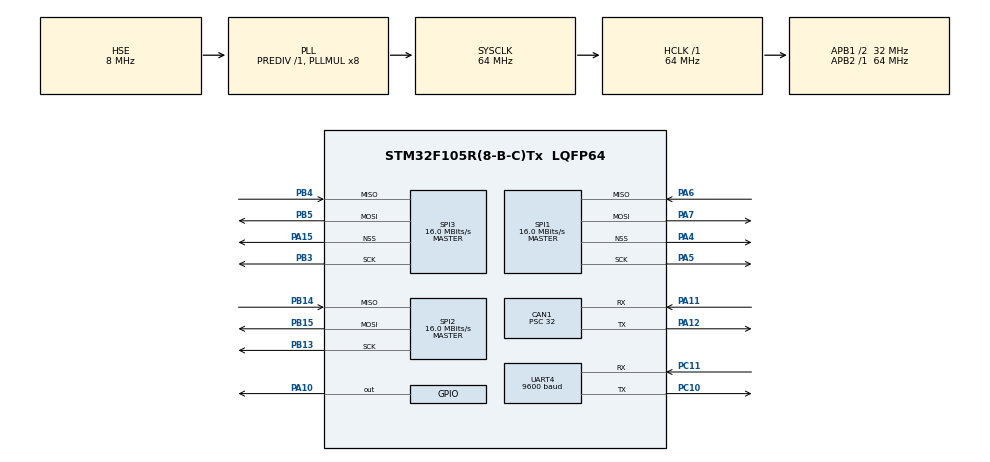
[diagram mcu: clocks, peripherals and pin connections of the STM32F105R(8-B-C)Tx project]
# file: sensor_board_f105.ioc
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CAN1.CalculateBaudRate=333333
CAN1.CalculateTimeBit=3000
CAN1.CalculateTimeQuantum=1000.0
CAN1.Prescaler=32
Mcu.Family=STM32F1
Mcu.Name=STM32F105R(8-B-C)Tx
Mcu.Package=LQFP64
NVIC.PriorityGroup=NVIC_PRIORITYGROUP_4
NVIC.TIM2_IRQn=true\:15\:0\:false\:false\:true\:false\:true\:true
NVIC.TimeBase=TIM2_IRQn
NVIC.TimeBaseIP=TIM2
PA10.Signal=GPIO_Output
PA11.Mode=CAN_Activate
PA11.Signal=CAN1_RX
PA12.Mode=CAN_Activate
PA12.Signal=CAN1_TX
PA13.Mode=Serial_Wire
PA13.Signal=SYS_JTMS-SWDIO
PA14.Mode=Serial_Wire
PA14.Signal=SYS_JTCK-SWCLK
PA15.Mode=NSS_Signal_Hard_Output
PA15.Signal=SPI3_NSS
PA4.Mode=NSS_Signal_Hard_Output
PA4.Signal=SPI1_NSS
PA5.Mode=Full_Duplex_Master
PA5.Signal=SPI1_SCK
PA6.Mode=Full_Duplex_Master
PA6.Signal=SPI1_MISO
PA7.Mode=Full_Duplex_Master
PA7.Signal=SPI1_MOSI
PB12.Signal=SPI2_NSS
PB13.Mode=Full_Duplex_Master
PB13.Signal=SPI2_SCK
PB14.Mode=Full_Duplex_Master
PB14.Signal=SPI2_MISO
PB15.Mode=Full_Duplex_Master
PB15.Signal=SPI2_MOSI
PB3.Mode=Full_Duplex_Master
PB3.Signal=SPI3_SCK
PB4.Mode=Full_Duplex_Master
PB4.Signal=SPI3_MISO
PB5.Mode=Full_Duplex_Master
PB5.Signal=SPI3_MOSI
PC10.Mode=Asynchronous
PC10.Signal=UART4_TX
PC11.Mode=Asynchronous
PC11.Signal=UART4_RX
PD0-OSC_IN.Mode=HSE-External-Oscillator
PD0-OSC_IN.Signal=RCC_OSC_IN
PD1-OSC_OUT.Mode=HSE-External-Oscillator
PD1-OSC_OUT.Signal=RCC_OSC_OUT
ProjectManager.HeapSize=0x200
ProjectManager.StackSize=0x400
ProjectManager.TargetToolchain=STM32CubeIDE
RCC.AHBFreq_Value=64000000
RCC.APB1CLKDivider=RCC_HCLK_DIV2
RCC.APB1Freq_Value=32000000
RCC.APB1TimFreq_Value=64000000
RCC.APB2Freq_Value=64000000
RCC.APB2TimFreq_Value=64000000
RCC.HCLKFreq_Value=64000000
RCC.PLLMUL=RCC_PLL_MUL8
RCC.PLLSourceVirtual=RCC_PLLSOURCE_HSE
RCC.SYSCLKFreq_VALUE=64000000
RCC.SYSCLKSource=RCC_SYSCLKSOURCE_PLLCLK
RCC.USBFreq_Value=42666666.666666664
SPI1.BaudRatePrescaler=SPI_BAUDRATEPRESCALER_4
SPI1.CalculateBaudRate=16.0 MBits/s
SPI1.Direction=SPI_DIRECTION_2LINES
SPI1.Mode=SPI_MODE_MASTER
SPI1.VirtualNSS=VM_NSSHARD
SPI1.VirtualType=VM_MASTER
SPI2.CalculateBaudRate=16.0 MBits/s
SPI2.Direction=SPI_DIRECTION_2LINES
SPI2.Mode=SPI_MODE_MASTER
SPI2.VirtualType=VM_MASTER
SPI3.CalculateBaudRate=16.0 MBits/s
SPI3.Direction=SPI_DIRECTION_2LINES
SPI3.Mode=SPI_MODE_MASTER
SPI3.VirtualNSS=VM_NSSHARD
SPI3.VirtualType=VM_MASTER
UART4.BaudRate=9600
UART4.Mode=MODE_TX
UART4.VirtualMode=Asynchronous
VP_SYS_VS_tim2.Mode=TIM2
board=custom

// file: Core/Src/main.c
/* USER CODE BEGIN Header */
/**
  ******************************************************************************
  * @file           : main.c
  * @brief          : Main program body
  ******************************************************************************
  * @attention
  *
  * Copyright (c) 2024 STMicroelectronics.
  * All rights reserved.
  *
  * This software is licensed under terms that can be found in the LICENSE file
  * in the root directory of this software component.
  * If no LICENSE file comes with this software, it is provided AS-IS.
  *
  ******************************************************************************
  */
/* USER CODE END Header */
#include "main.h"

/* USER CODE BEGIN Includes */
#include "max31855.h"
//#include <stdio.h>
#include <math.h>

/* USER CODE END Includes */

CAN_HandleTypeDef hcan1;

SPI_HandleTypeDef hspi1;
SPI_HandleTypeDef hspi2;
SPI_HandleTypeDef hspi3;

UART_HandleTypeDef huart4;

void SystemClock_Config(void);
static void MX_GPIO_Init(void);
static void MX_SPI1_Init(void);
static void MX_SPI2_Init(void);
static void MX_SPI3_Init(void);
static void MX_UART4_Init(void);
static void MX_CAN1_Init(void);

int main(void)
{

  /* MCU Configuration--------------------------------------------------------*/

  /* Reset of all peripherals, Initializes the Flash interface and the Systick. */
  HAL_Init();

  /* Configure the system clock */
  SystemClock_Config();

  /* Initialize all configured peripherals */
  MX_GPIO_Init();
  MX_SPI1_Init();
  MX_SPI2_Init();
  MX_SPI3_Init();
  MX_UART4_Init();
  MX_CAN1_Init();
  /* USER CODE BEGIN 2 */

  MAX31855_Init();	// Initialize MAX31855

  /* USER CODE END 2 */

  /* Infinite loop */
  /* USER CODE BEGIN WHILE */
  while (1)
  {
	  /* USER CODE BEGIN 3 */

	  // Read temperature from MAX31855
	  float temperature = MAX31855_GetTemperature();
	  uint32_t temp_int = (uint32_t)roundf(temperature);

	  uint8_t tx_buf[SENSE_BOARD_MSG_SIZE];
	  tx_buf[0] = MSG_TEMP_INT | COIL_A;
	  tx_buf[1] = (uint8_t)(temp_int & 0x000000ff);
	  tx_buf[2] = (uint8_t)((temp_int & 0x0000ff00) >> 8);
	  tx_buf[3] = (uint8_t)((temp_int & 0x00ff0000) >> 16);
	  tx_buf[4] = (uint8_t)((temp_int & 0xff000000) >> 24);

	  HAL_UART_Transmit(&huart4, tx_buf, SENSE_BOARD_MSG_SIZE, HAL_MAX_DELAY);

	  HAL_Delay(1000); // Delay 1 second between readings

	  /* USER CODE END 3 */
  }
    /* USER CODE END WHILE */

    /* USER CODE BEGIN 3 */

	  // Read temperature from MAX31855
	  float temperature = MAX31855_GetTemperature();
	  uint32_t temp_int = (uint32_t)roundf(temperature);

	  uint8_t tx_buf[SENSE_BOARD_MSG_SIZE];
	  tx_buf[0] = MSG_TEMP_INT;
	  tx_buf[1] = (uint8_t)(temp_int & 0x000000ff);
	  tx_buf[2] = (uint8_t)((temp_int & 0x0000ff00) >> 8);
	  tx_buf[3] = (uint8_t)((temp_int & 0x00ff0000) >> 16);
	  tx_buf[4] = (uint8_t)((temp_int & 0xff000000) >> 24);

	  HAL_UART_Transmit(&huart4, tx_buf, SENSE_BOARD_MSG_SIZE, HAL_MAX_DELAY);

	  HAL_Delay(1000); // Delay 1 second between readings

  /* USER CODE END 3 */
}

void SystemClock_Config(void)
{
  RCC_OscInitTypeDef RCC_OscInitStruct = {0};
  RCC_ClkInitTypeDef RCC_ClkInitStruct = {0};

  /** Initializes the RCC Oscillators according to the specified parameters
  * in the RCC_OscInitTypeDef structure.
  */
  RCC_OscInitStruct.OscillatorType = RCC_OSCILLATORTYPE_HSE;
  RCC_OscInitStruct.HSEState = RCC_HSE_ON;
  RCC_OscInitStruct.HSEPredivValue = RCC_HSE_PREDIV_DIV1;
  RCC_OscInitStruct.HSIState = RCC_HSI_ON;
  RCC_OscInitStruct.Prediv1Source = RCC_PREDIV1_SOURCE_HSE;
  RCC_OscInitStruct.PLL.PLLState = RCC_PLL_ON;
  RCC_OscInitStruct.PLL.PLLSource = RCC_PLLSOURCE_HSE;
  RCC_OscInitStruct.PLL.PLLMUL = RCC_PLL_MUL8;
  RCC_OscInitStruct.PLL2.PLL2State = RCC_PLL_NONE;
  if (HAL_RCC_OscConfig(&RCC_OscInitStruct) != HAL_OK)
  {
    Error_Handler();
  }

  /** Initializes the CPU, AHB and APB buses clocks
  */
  RCC_ClkInitStruct.ClockType = RCC_CLOCKTYPE_HCLK|RCC_CLOCKTYPE_SYSCLK
                              |RCC_CLOCKTYPE_PCLK1|RCC_CLOCKTYPE_PCLK2;
  RCC_ClkInitStruct.SYSCLKSource = RCC_SYSCLKSOURCE_PLLCLK;
  RCC_ClkInitStruct.AHBCLKDivider = RCC_SYSCLK_DIV1;
  RCC_ClkInitStruct.APB1CLKDivider = RCC_HCLK_DIV2;
  RCC_ClkInitStruct.APB2CLKDivider = RCC_HCLK_DIV1;

  if (HAL_RCC_ClockConfig(&RCC_ClkInitStruct, FLASH_LATENCY_2) != HAL_OK)
  {
    Error_Handler();
  }

  /** Configure the Systick interrupt time
  */
  __HAL_RCC_PLLI2S_ENABLE();
}

static void MX_CAN1_Init(void)
{

  hcan1.Instance = CAN1;
  hcan1.Init.Prescaler = 32;
  hcan1.Init.Mode = CAN_MODE_NORMAL;
  hcan1.Init.SyncJumpWidth = CAN_SJW_1TQ;
  hcan1.Init.TimeSeg1 = CAN_BS1_1TQ;
  hcan1.Init.TimeSeg2 = CAN_BS2_1TQ;
  hcan1.Init.TimeTriggeredMode = DISABLE;
  hcan1.Init.AutoBusOff = DISABLE;
  hcan1.Init.AutoWakeUp = DISABLE;
  hcan1.Init.AutoRetransmission = DISABLE;
  hcan1.Init.ReceiveFifoLocked = DISABLE;
  hcan1.Init.TransmitFifoPriority = DISABLE;
  if (HAL_CAN_Init(&hcan1) != HAL_OK)
  {
    Error_Handler();
  }

}

static void MX_SPI1_Init(void)
{

  /* SPI1 parameter configuration*/
  hspi1.Instance = SPI1;
  hspi1.Init.Mode = SPI_MODE_MASTER;
  hspi1.Init.Direction = SPI_DIRECTION_2LINES;
  hspi1.Init.DataSize = SPI_DATASIZE_8BIT;
  hspi1.Init.CLKPolarity = SPI_POLARITY_LOW;
  hspi1.Init.CLKPhase = SPI_PHASE_1EDGE;
  hspi1.Init.NSS = SPI_NSS_HARD_OUTPUT;
  hspi1.Init.BaudRatePrescaler = SPI_BAUDRATEPRESCALER_4;
  hspi1.Init.FirstBit = SPI_FIRSTBIT_MSB;
  hspi1.Init.TIMode = SPI_TIMODE_DISABLE;
  hspi1.Init.CRCCalculation = SPI_CRCCALCULATION_DISABLE;
  hspi1.Init.CRCPolynomial = 10;
  if (HAL_SPI_Init(&hspi1) != HAL_OK)
  {
    Error_Handler();
  }

}

static void MX_SPI2_Init(void)
{

  /* SPI2 parameter configuration*/
  hspi2.Instance = SPI2;
  hspi2.Init.Mode = SPI_MODE_MASTER;
  hspi2.Init.Direction = SPI_DIRECTION_2LINES;
  hspi2.Init.DataSize = SPI_DATASIZE_8BIT;
  hspi2.Init.CLKPolarity = SPI_POLARITY_LOW;
  hspi2.Init.CLKPhase = SPI_PHASE_1EDGE;
  hspi2.Init.NSS = SPI_NSS_SOFT;
  hspi2.Init.BaudRatePrescaler = SPI_BAUDRATEPRESCALER_2;
  hspi2.Init.FirstBit = SPI_FIRSTBIT_MSB;
  hspi2.Init.TIMode = SPI_TIMODE_DISABLE;
  hspi2.Init.CRCCalculation = SPI_CRCCALCULATION_DISABLE;
  hspi2.Init.CRCPolynomial = 10;
  if (HAL_SPI_Init(&hspi2) != HAL_OK)
  {
    Error_Handler();
  }

}

static void MX_SPI3_Init(void)
{

  /* SPI3 parameter configuration*/
  hspi3.Instance = SPI3;
  hspi3.Init.Mode = SPI_MODE_MASTER;
  hspi3.Init.Direction = SPI_DIRECTION_2LINES;
  hspi3.Init.DataSize = SPI_DATASIZE_8BIT;
  hspi3.Init.CLKPolarity = SPI_POLARITY_LOW;
  hspi3.Init.CLKPhase = SPI_PHASE_1EDGE;
  hspi3.Init.NSS = SPI_NSS_HARD_OUTPUT;
  hspi3.Init.BaudRatePrescaler = SPI_BAUDRATEPRESCALER_2;
  hspi3.Init.FirstBit = SPI_FIRSTBIT_MSB;
  hspi3.Init.TIMode = SPI_TIMODE_DISABLE;
  hspi3.Init.CRCCalculation = SPI_CRCCALCULATION_DISABLE;
  hspi3.Init.CRCPolynomial = 10;
  if (HAL_SPI_Init(&hspi3) != HAL_OK)
  {
    Error_Handler();
  }

}

static void MX_UART4_Init(void)
{

  huart4.Instance = UART4;
  huart4.Init.BaudRate = 9600;
  huart4.Init.WordLength = UART_WORDLENGTH_8B;
  huart4.Init.StopBits = UART_STOPBITS_1;
  huart4.Init.Parity = UART_PARITY_NONE;
  huart4.Init.Mode = UART_MODE_TX;
  huart4.Init.HwFlowCtl = UART_HWCONTROL_NONE;
  huart4.Init.OverSampling = UART_OVERSAMPLING_16;
  if (HAL_UART_Init(&huart4) != HAL_OK)
  {
    Error_Handler();
  }

}

static void MX_GPIO_Init(void)
{
  GPIO_InitTypeDef GPIO_InitStruct = {0};

  /* GPIO Ports Clock Enable */
  __HAL_RCC_GPIOD_CLK_ENABLE();
  __HAL_RCC_GPIOA_CLK_ENABLE();
  __HAL_RCC_GPIOB_CLK_ENABLE();
  __HAL_RCC_GPIOC_CLK_ENABLE();

  /*Configure GPIO pin Output Level */
  HAL_GPIO_WritePin(GPIOA, GPIO_PIN_10, GPIO_PIN_RESET);

  /*Configure GPIO pin : PA10 */
  GPIO_InitStruct.Pin = GPIO_PIN_10;
  GPIO_InitStruct.Mode = GPIO_MODE_OUTPUT_PP;
  GPIO_InitStruct.Pull = GPIO_NOPULL;
  GPIO_InitStruct.Speed = GPIO_SPEED_FREQ_LOW;
  HAL_GPIO_Init(GPIOA, &GPIO_InitStruct);

}

void HAL_TIM_PeriodElapsedCallback(TIM_HandleTypeDef *htim)
{
  if (htim->Instance == TIM2) {
    HAL_IncTick();
  }
}

void Error_Handler(void)
{
  __disable_irq();
  while (1)
  {
  }
}
